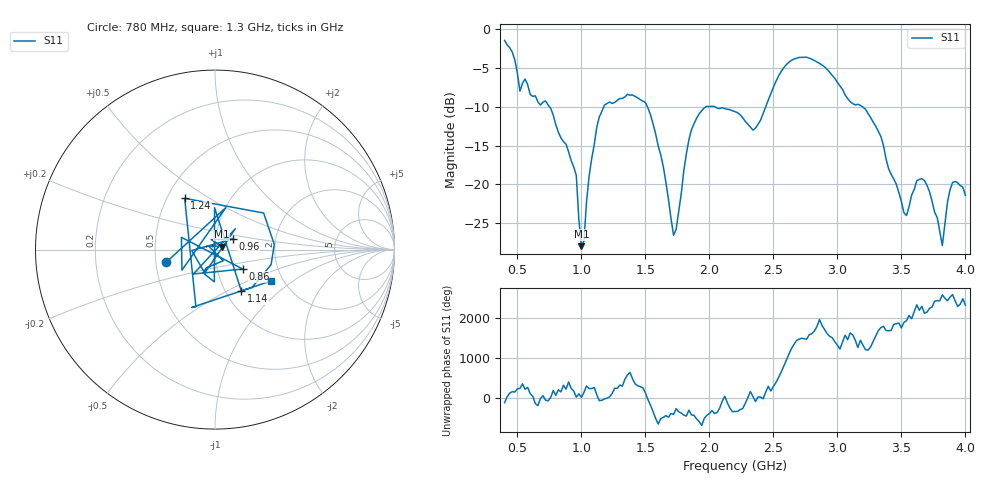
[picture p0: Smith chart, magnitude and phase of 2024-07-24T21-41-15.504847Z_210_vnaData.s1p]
!Created with skrf (http://scikit-rf.org).
# Hz S RI R 50.0
!freq ReS11 ImS11
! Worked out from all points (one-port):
!   181 points, 400 MHz to 4 GHz, reference 50 ohm
!   lowest |S11| = -27.9 dB at 1 GHz (marker M1), VSWR 1.08, Z = 53.7 + j1.82 ohm
!   |S11| at or under -10 dB: 749.9 MHz to 1.175 GHz (425.1 MHz wide, 44.2 % of centre); 1.515 GHz to 1.975 GHz (460.1 MHz wide, 26.4 % of centre); 3.194 GHz to end of sweep (the widest 3 of 4)
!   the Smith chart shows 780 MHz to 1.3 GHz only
!   S11 on the Smith chart (normalised r, x): 780 MHz: 0.57, -0.09; 860 MHz: 1.33, -0.30; 960 MHz: 1.21, +0.14; 1.14 GHz: 1.19, -0.59; 1.24 GHz: 0.61, +0.39; 1.3 GHz: 1.72, -0.69
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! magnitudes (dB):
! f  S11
! 400 MHz  -1.5
! 520 MHz  -8.0
! 560 MHz  -6.4
! 780 MHz  -11.1
! 860 MHz  -14.5
! 960 MHz  -18.8
! 1 GHz  -27.9
! 1.14 GHz  -11.3
! 1.24 GHz  -9.6
! 1.3 GHz  -9.0
! 1.5 GHz  -9.5
! 1.64 GHz  -17.7
! 1.72 GHz  -26.5
! 1.76 GHz  -23.5
! 1.84 GHz  -14.2
! 1.9 GHz  -11.5
! 2.2 GHz  -10.6
! 2.36 GHz  -12.7
! 2.66 GHz  -3.9
! 2.9 GHz  -4.9
! 3.1 GHz  -9.3
! 3.3 GHz  -12.5
! 3.52 GHz  -23.6
! 3.56 GHz  -22.9
! 3.68 GHz  -19.5
! 3.82 GHz  -27.8
! 3.9 GHz  -19.7
! 4 GHz  -21.4
